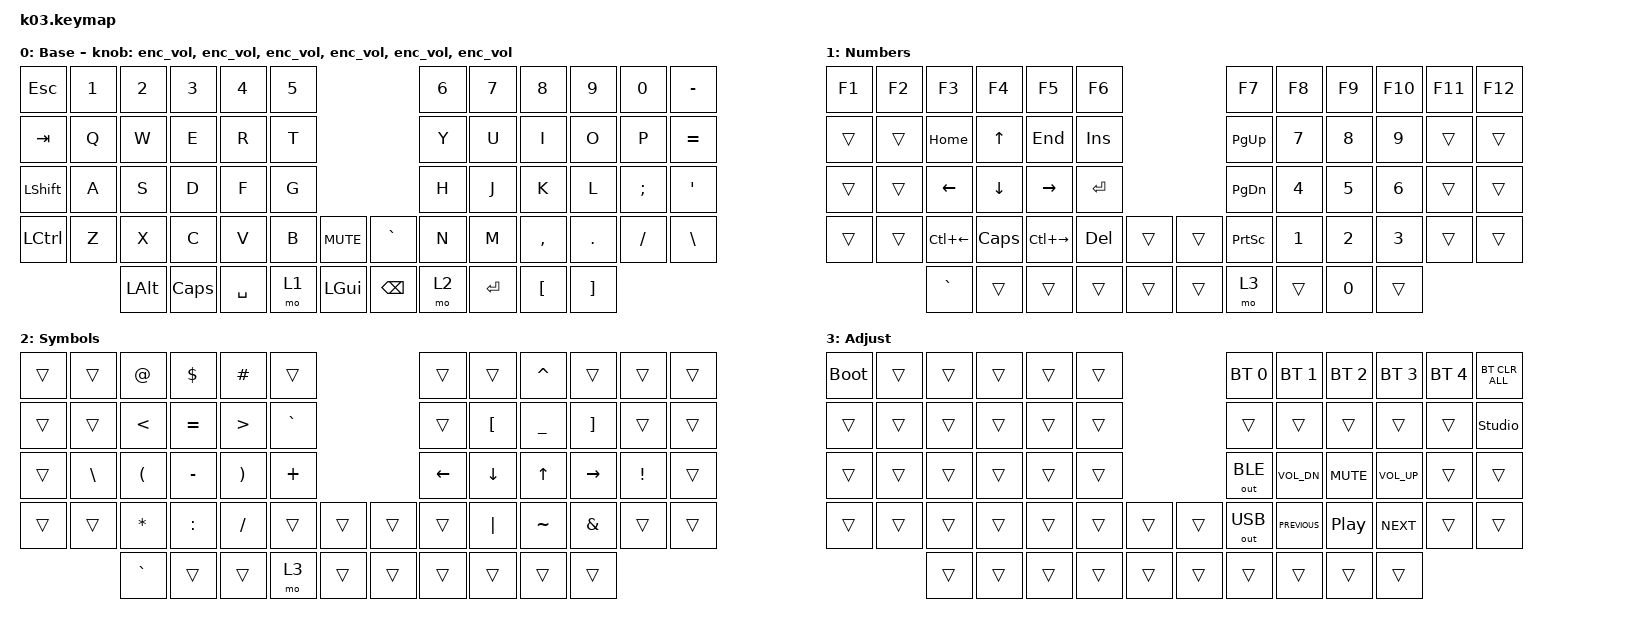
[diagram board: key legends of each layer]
#include "keys_ru.h"
#include <behaviors.dtsi>
#include <dt-bindings/zmk/bt.h>
#include <dt-bindings/zmk/keys.h>
#include <dt-bindings/zmk/outputs.h>

/ {
    behaviors {
        enc_vol: enc_vol {
            compatible = "zmk,behavior-sensor-rotate";
            label = "ENC_VOL";
            #sensor-binding-cells = <0>;
            bindings = <&kp C_VOL_UP>, <&kp C_VOL_DN>;
        };
    };

    keymap {
        compatible = "zmk,keymap";

        base {
            bindings = <
&kp ESC         &kp N1  &kp N2    &kp N3    &kp N4     &kp N5                               &kp N6  &kp N7     &kp N8            &kp N9             &kp N0    &kp MINUS
&kp TAB         &kp Q   &kp W     &kp E     &kp R      &kp T                                &kp Y   &kp U      &kp I             &kp O              &kp P     &kp EQUAL
&kp LEFT_SHIFT  &kp A   &kp S     &kp D     &kp F      &kp G                                &kp H   &kp J      &kp K             &kp L              &kp SEMI  &kp SQT
&kp LCTRL       &kp Z   &kp X     &kp C     &kp V      &kp B   &kp K_MUTE    &kp GRAVE      &kp N   &kp M      &kp COMMA         &kp DOT            &kp FSLH  &kp BSLH
                        &kp LALT  &kp CAPS  &kp SPACE  &mo 1   &kp LGUI      &kp BACKSPACE  &mo 2   &kp ENTER  &kp LEFT_BRACKET  &kp RIGHT_BRACKET
            >;

            display-name = "Base";
            sensor-bindings =
                <&enc_vol>,
                <&enc_vol>,
                <&enc_vol>,
                <&enc_vol>,
                <&enc_vol>,
                <&enc_vol>;
        };

        num {
            bindings = <
&kp F1  &kp F2  &kp F3        &kp F4    &kp F5         &kp F6                     &kp F7           &kp F8  &kp F9  &kp F10  &kp F11  &kp F12
&trans  &trans  &kp HOME      &kp UP    &kp END        &kp INS                    &kp PG_UP        &kp N7  &kp N8  &kp N9   &trans   &trans
&trans  &trans  &kp LEFT      &kp DOWN  &kp RIGHT      &kp RET                    &kp PG_DN        &kp N4  &kp N5  &kp N6   &trans   &trans
&trans  &trans  &kp LC(LEFT)  &kp CAPS  &kp LC(RIGHT)  &kp DEL  &trans    &trans  &kp PRINTSCREEN  &kp N1  &kp N2  &kp N3   &trans   &trans
                &kp GRAVE     &trans    &trans         &trans   &trans    &trans  &mo 3            &trans  &kp N0  &trans
            >;

            display-name = "Numbers";
        };

        sym {
            bindings = <
&trans  &trans    &kp AT     &kp DLLR   &kp HASH  &trans                       &trans    &trans    &kp CARET  &trans     &trans    &trans
&trans  &trans    &kp LT     &kp EQUAL  &kp GT    &kp GRAVE                    &trans    &kp LBKT  &kp UNDER  &kp RBKT   &trans    &trans
&trans  &kp BSLH  &kp LPAR   &kp MINUS  &kp RPAR  &kp PLUS                     &kp LEFT  &kp DOWN  &kp UP     &kp RIGHT  &kp EXCL  &trans
&trans  &trans    &kp STAR   &kp COLON  &kp FSLH  &trans     &trans    &trans  &trans    &kp PIPE  &kp TILDE  &kp AMPS   &trans    &trans
                  &kp GRAVE  &trans     &trans    &mo 3      &trans    &trans  &trans    &trans    &trans     &trans
            >;

            display-name = "Symbols";
        };

        adj {
            bindings = <
&bootloader  &trans  &trans  &trans  &trans  &trans                    &bt BT_SEL 0  &bt BT_SEL 1    &bt BT_SEL 2      &bt BT_SEL 3  &bt BT_SEL 4  &bt BT_CLR_ALL
&trans       &trans  &trans  &trans  &trans  &trans                    &trans        &trans          &trans            &trans        &trans        &studio_unlock
&trans       &trans  &trans  &trans  &trans  &trans                    &out OUT_BLE  &kp C_VOL_DN    &kp K_MUTE        &kp C_VOL_UP  &trans        &trans
&trans       &trans  &trans  &trans  &trans  &trans  &trans    &trans  &out OUT_USB  &kp C_PREVIOUS  &kp C_PLAY_PAUSE  &kp C_NEXT    &trans        &trans
                     &trans  &trans  &trans  &trans  &trans    &trans  &trans        &trans          &trans            &trans
            >;

            display-name = "Adjust";
        };
    };
};
